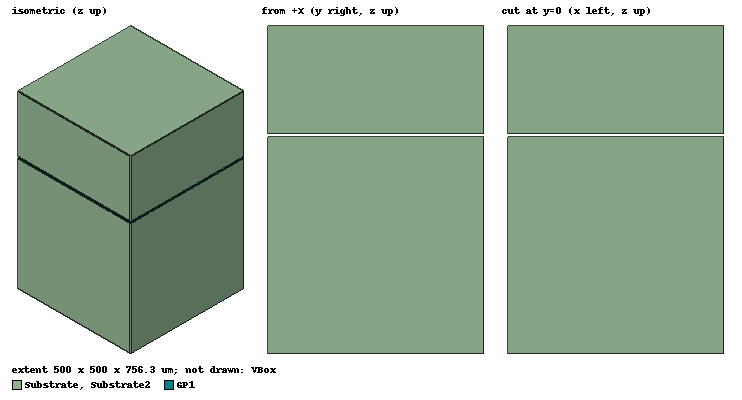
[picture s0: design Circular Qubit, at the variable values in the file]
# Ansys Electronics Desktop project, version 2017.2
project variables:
  $Cr = 287.5fF
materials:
  vacuum: permittivity=1
  copper: permeability=0.999991 conductivity=58000000
  silicon: permittivity=11.9
  perfect conductor: conductivity=1e+030
  silicon_nitrate: permittivity=7
  silicon_dioxide: permittivity=4

design Parallel Plate (Q3D Extractor, model units um)
options: SParamCalcMethod=EqTransLine Calculate_Lossy_Dielectrics
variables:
  subw = 250um
  h = 500um
  t = 0.1um
  i0t = 500nm
  C_s = 145um  # optimise 40um..120um
  m3_t = 0.6um
  gap = 5um
  qm0_t = 0.1um
  cavw = 125um
  dz = t + i0t + m3_t + gap
  cavg = 6um
  w = 10um
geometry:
  Substrate [silicon] = box(corner=(-subw/2, -subw/2, 0um), size=(subw, subw, -h))
  GP1 [perfect conductor] = box(corner=(-subw/2, -subw/2, 0um), size=(subw, subw, t))
  Dielectric [silicon_dioxide] = box(corner=(-C_s/2- 5u, -C_s/2 -5u, t), size=(C_s + 10u, C_s + 10u, i0t))
  C_s [perfect conductor] = box(corner=(-C_s/2, -C_s/2, t+i0t), size=(C_s, C_s, m3_t))
  VBox [vacuum] = box(corner=(-subw/2, -subw/2, -h), size=(subw, subw, 2*h))
  GP2 [perfect conductor] = box(corner=(-subw/2, -subw/2, t+i0t+m3_t + gap), size=(subw, subw, qm0_t))
  Substrate2 [silicon] = box(corner=(-subw/2, -subw/2, t+ i0t+ m3_t+gap+qm0_t), size=(subw, subw, 250um))
  CavC = box(corner=(-cavw/2, -cavw/2, dz), size=(cavw, cavw, qm0_t))
  Box1 = box(corner=(-cavw/2 -cavg, -cavw/2 -cavg, dz), size=(cavw + cavg*2, cavw + cavg*2, qm0_t))
  Cav [perfect conductor] = box(corner=(0um, -w/2, dz), size=(-subw/2, w, qm0_t))
  Box3 = box(corner=(0um, -w/2 - cavg, dz), size=(-subw/2, w + 2*cavg, qm0_t))
  GP2.subtract(Box1, Box3)
  Cav.unite(CavC)
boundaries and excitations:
  C_s: SignalNet Objects=C_s
  Cav: SignalNet Objects=Cav
  GP1: GroundNet Objects=GP1
  GP2: GroundNet Objects=GP2
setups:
  Setup1: Matrix AdaptiveFreq=5.8GHz Cap{MaxPass=10 MinPass=1 MinConvPass=1 PerError=1 PerRefine=30 AutoIncreaseSolutionOrder SolutionOrder=High}
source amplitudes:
  C_s: Cap 1V 0deg
  Cav: Cap 0V 0deg
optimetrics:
  OptimizationSetup1: Optimization Optimizer="Quasi Newton" AnalysisStopOptions{StopForNumIteration MaxNumIteration=1000 MinNumIteration=10} CostFuncNormType=L2 Acceptable_Cost=0 Noise=0.0001 UpdateDesignWhenDone
    vary C_s: Min=80um Max=100um MinStep=0.8um MaxStep=8um MinFocus=40um MaxFocus=120um start=100um
    goal abs(C(C_s,GP1)) == 3.3e-012 weight 1 on Setup1 : LastAdaptive at Freq 5.8GHz
  Gap Sweep: Parametric Sim._Setups=[Setup1]
    sweep gap: LIN 4um 8um 1um
    calculate abs(C(C_s,C_s)) on Setup1 : LastAdaptive at Freq 5.8GHz
    calculate abs(C(C_s,Cav)) on Setup1 : LastAdaptive at Freq 5.8GHz
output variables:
  beta = abs(C(C_s,Cav)) / abs(C(C_s,C_s))
  g = $fr * abs(C(C_s,Cav)) / sqrt(abs(C(C_s,C_s)) * $Cr)
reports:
  C Matrix Table 1: abs(C(C_s,C_s)), abs(beta), g, abs(C(Cav,Cav)), abs(C(C_s,Cav)), cavw, C_s, gap, i0t vs Freq on Setup1 : LastAdaptive
  C Matrix: abs(C(Cav,C_s)) vs Pass on Setup1 : AdaptivePass [Freq=all subw=all h=all t=all i0t=all C_s=all m3_t=all gap=all qm0_t=all cavw=all cavg=all w=all]
  C Matrix Plot 1: abs(C(C_s,Cav)) vs gap on Setup1 : LastAdaptive [Freq=5.8GHz cavw=80um]

design Chip to Chip IDC (Q3D Extractor, model units um)
options: SParamCalcMethod=EqTransLine Calculate_Lossy_Dielectrics
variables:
  subw = 250um
  h = 500um
  t = 0.1um
  qm0_t = 0.1um
  gap = 5um
  m3_t = 0.6um
  i0t = 500nm
  C_s = 157um
  dz = t + i0t + m3_t + gap
  w = 10um
  cavg = 6um
  cavw = 150um
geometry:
  Substrate [silicon] = box(corner=(-subw/2, -subw/2, 0um), size=(subw, subw, -h))
  Substrate2 [silicon] = box(corner=(-subw/2, -subw/2, t+ i0t+ m3_t+gap+qm0_t), size=(subw, subw, 250um))
  VBox [vacuum] = box(corner=(-subw/2, -subw/2, -h), size=(subw, subw, 2*h))
  GP1 [perfect conductor] = box(corner=(-subw/2, -subw/2, 0um), size=(subw, subw, t))
  Dielectric [silicon_nitrate] = box(corner=(-C_s/2- 5u, -C_s/2 -5u, t), size=(C_s + 10u, C_s + 10u, i0t))
  C_s [perfect conductor] = box(corner=(-C_s/2, -C_s/2, t+i0t), size=(C_s, C_s, m3_t))
  GP2 [perfect conductor] = box(corner=(-subw/2, -subw/2, t+i0t+m3_t + gap), size=(subw, subw, qm0_t))
  Bump [perfect conductor] = box(corner=(-15um, -15um, dz-gap), size=(30um, 30um, gap))
  Box1 [copper] = box(corner=(-50um, -50um, dz), size=(100um, 100um, qm0_t))

design Circular Qubit (Q3D Extractor, model units um)
options: SParamCalcMethod=EqTransLine Calculate_Lossy_Dielectrics
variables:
  h = 500um
  subw = 500um
  t = 0.1um
  C_s = 145um
  i0t = 500nm
  m3_t = 0.6um
  cavg = 6um
  w = 10um
  gap = 5um
  cavw = 125um
  dz = t + i0t + m3_t + gap
  qm0_t = 0.1um
  radius = 100um
  qubit_gap = 40um
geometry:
  Substrate [silicon] = box(corner=(-subw/2, -subw/2, 0um), size=(subw, subw, -h))
  GP1 [perfect conductor] = box(corner=(-subw/2, -subw/2, 0um), size=(subw, subw, t))
  VBox [vacuum] = box(corner=(-subw/2, -subw/2, -h), size=(subw, subw, 2*h))
  GP2 [perfect conductor] = box(corner=(-subw/2, -subw/2, t+i0t+m3_t + gap), size=(subw, subw, qm0_t))
  Substrate2 [silicon] = box(corner=(-subw/2, -subw/2, t+ i0t+ m3_t+gap+qm0_t), size=(subw, subw, 250um))
  Qubit [perfect conductor] = cylinder(axis=Z, base_centre=(0um, 0um, t+i0t+m3_t + gap), radius=radius, height=qm0_t)
  Cylinder2 = cylinder(axis=Z, base_centre=(0um, 0um, t+i0t+m3_t + gap), radius=radius + qubit_gap, height=qm0_t)
  GP2.subtract(Cylinder2)
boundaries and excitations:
  Qubit: SignalNet Objects=Qubit
  GP1: GroundNet Objects=GP1
  GP2: GroundNet Objects=GP2
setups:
  CG: Matrix AdaptiveFreq=4.5GHz Cap{MaxPass=10 MinPass=1 MinConvPass=1 PerError=1 PerRefine=30 AutoIncreaseSolutionOrder SolutionOrder=High}
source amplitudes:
  Qubit: Cap 1V 0deg
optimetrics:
  Radius Sweep: Parametric Sim._Setups=[CG]
    sweep radius: LIN 20um 200um 20um
    calculate C(Cylinder1,Cylinder1) on CG : LastAdaptive at Freq 4.5GHz
  Gap Sweep: Parametric Sim._Setups=[CG]
    sweep qubit_gap: LIN 10um 50um 10um
    calculate C(Cylinder1,Cylinder1) on CG : LastAdaptive at Freq 4.5GHz
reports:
  C Matrix Table 1: C(Qubit,Qubit) vs Freq on CG : LastAdaptive
  Radius Sweep 40um Gap: C(Cylinder1,Cylinder1) vs radius on CG : LastAdaptive [Freq=4.5GHz]
  C Matrix Plot 1: C(Qubit,Qubit) vs Freq on CG : LastAdaptive [radius=100um qubit_gap=40um]
